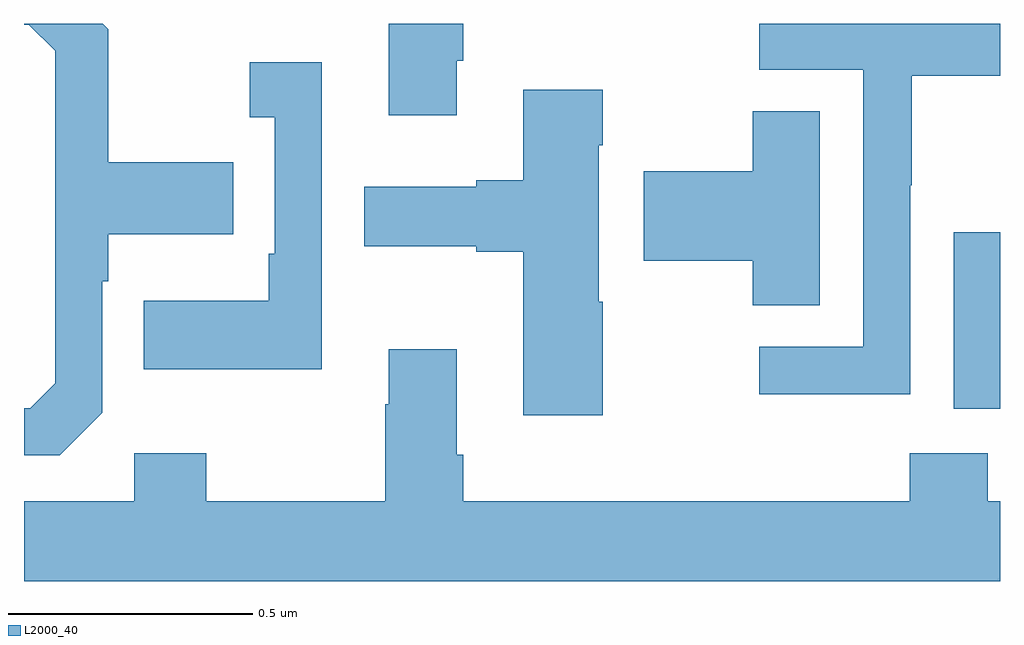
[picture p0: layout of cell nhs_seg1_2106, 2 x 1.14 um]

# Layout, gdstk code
import gdstk
lib = gdstk.Library(unit=1e-6, precision=1e-09)
def R(c, l, rs):  # rectangles x0, y0, x1, y1
    for r in rs: c.add(gdstk.rectangle(r[:2], r[2:], *l))
def P(c, l, *ps):  # polygons
    for p in ps: c.add(gdstk.Polygon(p, *l))
L2000_40 = (2000, 40)

nhs_seg1_2106 = lib.new_cell('nhs_seg1_2106')
R(nhs_seg1_2106, L2000_40, [(138.905,561.41,139,561.771)])
P(nhs_seg1_2106, L2000_40, [(137.887,562.123),(137.9,562.123),(137.9,562.199),(137.747,562.199),(137.747,562.011),(137.887,562.011)],
  [(137.16,561.402),(137.16,561.671),(137.173,561.671),(137.173,561.767),(137.429,561.767),(137.429,561.915),(137.173,561.915),(137.173,562.187),(137.161,562.199),(137,562.199),(137,562.197),(137.01,562.197),(137.064,562.143),(137.064,561.462),(137.013,561.411),(137,561.411),(137,561.315),(137.073,561.315)],
  [(138.816,561.868),(138.819,561.868),(138.819,562.092),(139,562.092),(139,562.199),(138.507,562.199),(138.507,562.104),(138.72,562.104),(138.72,561.537),(138.507,561.537),(138.507,561.439),(138.816,561.439)],
  [(137.61,562.12),(137.463,562.12),(137.463,562.007),(137.514,562.007),(137.514,561.727),(137.502,561.727),(137.502,561.631),(137.245,561.631),(137.245,561.491),(137.61,561.491)],
  [(138.186,561.629),(138.178,561.629),(138.178,561.95),(138.186,561.95),(138.186,562.063),(138.023,562.063),(138.023,561.878),(137.927,561.878),(137.927,561.865),(137.697,561.865),(137.697,561.743),(137.927,561.743),(137.927,561.731),(138.023,561.731),(138.023,561.396),(138.186,561.396)],
  [(138.631,562.019),(138.493,562.019),(138.493,561.896),(138.27,561.896),(138.27,561.713),(138.493,561.713),(138.493,561.622),(138.631,561.622)],
  [(139,561.22),(138.975,561.22),(138.975,561.319),(138.815,561.319),(138.815,561.22),(137.9,561.22),(137.9,561.316),(137.887,561.316),(137.887,561.532),(137.747,561.532),(137.747,561.419),(137.74,561.419),(137.74,561.22),(137.373,561.22),(137.373,561.319),(137.226,561.319),(137.226,561.22),(137,561.22),(137,561.056),(139,561.056)])

lib.write_gds('nhs_seg1_2106.gds')
